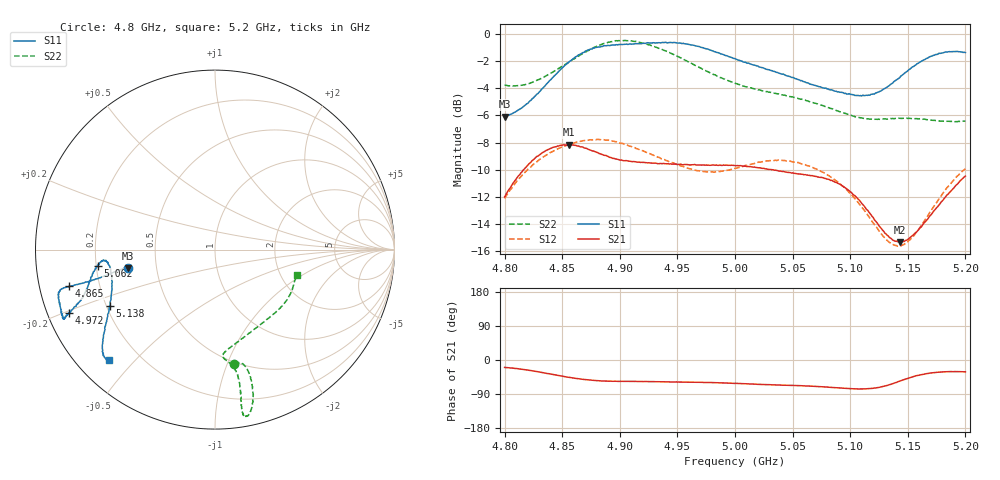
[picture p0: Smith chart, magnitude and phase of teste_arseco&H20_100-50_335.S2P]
! Network Analyzer HP8722D
! Hewlett-Packard
! Data name: Linha & Wilkinson
! Saver's name: Rodrigo Anjos
! Comments: Teste da utilização de aquisição
! continua pelo VNA HP8722D
! Time and date: 6/5/2025 15:21
!  Frequency  S11  S21  S12  S22
# HZ  S  MA R 50
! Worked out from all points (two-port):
!   401 points, 4.8 GHz to 5.2 GHz, reference 50 ohm
!   highest |S21| = -8.17 dB at 4.856 GHz (marker M1); lowest = -15.3 dB at 5.143 GHz (marker M2)
!   |S21| within 3 dB of the highest: 4.806 GHz to 5.093 GHz (286.5 MHz wide, 5.79 % of centre); 5.191627 GHz to end of sweep
!   lowest |S11| = -6.1 dB at 4.8 GHz (marker M3), VSWR 2.97, Z = 17 - j4.6 ohm
!   |S11| at or under -10 dB: nowhere
!   |S22| runs from -6.5 to -0.5 dB; largest |S21 - S12| = 0.62
!   S11 on the Smith chart (normalised r, x): 4.8 GHz: 0.34, -0.09; 4.865 GHz: 0.09, -0.12; 4.972 GHz: 0.06, -0.21; 5.062 GHz: 0.21, -0.07; 5.138 GHz: 0.21, -0.24; 5.2 GHz: 0.09, -0.43
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4.8e9  0.4962 -168.1  0.2512 -19.6  0.2479 -140.7  0.6482 -80.4
4.826e9  0.5875 -167.2  0.3473 -29.5  0.3326 -144.4  0.6682 -75.7
4.856e9  0.7891 -165.8  0.3905 -45.7  0.3918 -150.0  0.7885 -74.7
4.865e9  0.8385 -165.9  0.3851 -49.8  0.4011 -151.6  0.8326 -75.2
4.867e9  0.8486 -165.8  0.3837 -50.6  0.4031 -151.9  0.8427 -75.4
4.879e9  0.8909 -165.5  0.3677 -54.3  0.4074 -154.0  0.8938 -76.6
4.899e9  0.9131 -162.9  0.3442 -56.4  0.3977 -156.6  0.9438 -79.1
4.934e9  0.9276 -156.4  0.3327 -57.5  0.351 -155.6  0.8836 -80.4
4.949e9  0.9264 -155.3  0.3314 -57.8  0.3312 -152.9  0.8297 -80.1
4.972e9  0.8892 -156.6  0.3291 -58.9  0.3114 -146.1  0.7403 -79.7
5e9  0.8102 -158.9  0.3273 -61.8  0.3199 -137.2  0.6574 -81.3
5.036e9  0.7215 -165.5  0.3144 -66.0  0.3418 -134.3  0.6027 -85.7
5.062e9  0.6605 -172.2  0.3024 -68.4  0.328 -136.3  0.5673 -83.7
5.067e9  0.6502 -172.8  0.3007 -69.0  0.3229 -136.7  0.5592 -82.7
5.089e9  0.6111 -174.4  0.282 -73.4  0.2854 -138.5  0.5204 -73.9
5.103e9  0.5964 -171.4  0.2555 -76.0  0.2505 -138.6  0.4979 -65.2
5.134e9  0.6452 -154.1  0.1782 -65.3  0.1708 -120.7  0.4871 -43.3
5.138e9  0.6673 -151.7  0.1735 -61.1  0.167 -115.6  0.4872 -40.8
5.143e9  0.6898 -149.3  0.1709 -55.9  0.1657 -109.0  0.4887 -38.0
5.154e9  0.756 -144.4  0.1809 -44.5  0.1786 -95.0  0.4872 -32.2
5.172e9  0.8325 -139.0  0.2212 -33.6  0.2297 -81.1  0.4803 -24.5
5.2e9  0.853 -133.6  0.2995 -31.2  0.3185 -76.8  0.4775 -17.5
